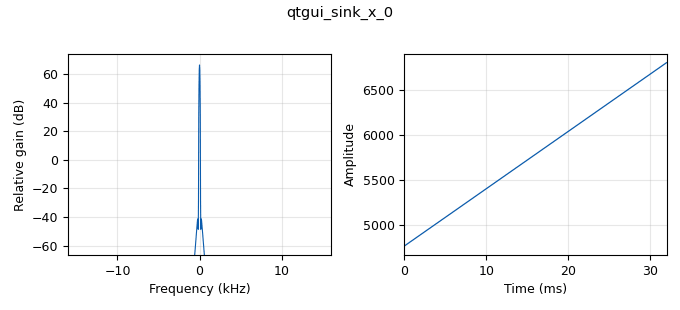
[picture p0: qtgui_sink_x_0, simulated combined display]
options:
  parameters:
    generate_options: qt_gui
    id: Acum
    output_language: python
  states: {}

blocks:
- name: samp_rate
  id: variable
  parameters:
    value: '32000'
  states: {}
- name: blocks_vector_source_x_0
  id: blocks_vector_source_x
  parameters:
    repeat: 'True'
    type: float
    vector: (2, 2, 2)
  states: {}
- name: epy_block_0
  id: epy_block
  parameters:
    _source_code: |-
      """
      Embedded Python Blocks:

      Each time this file is saved, GRC will instantiate the first class it finds
      to get ports and parameters of your block. The arguments to __init__  will
      be the parameters. All of them are required to have default values!
      """

      import numpy as np
      from gnuradio import gr


      class blk(gr.sync_block):  # other base classes are basic_block, decim_block, interp_block
          """Embedded Python Block example - a simple multiply const"""
          
          def __init__(self):
              gr.sync_block.__init__(
                  self,
                  name='e_Acum',
                  in_sig=[np.float32],
                  out_sig=[np.float32]
              )

          def work(self, input_items, output_items):

              x=input_items[0]
              y0=output_items[0]
              y0[:]=np.cumsum(x)
              return len(y0)
  states: {}
- name: qtgui_sink_x_0
  id: qtgui_sink_x
  parameters:
    bw: samp_rate
    fc: '0'
    fftsize: '1024'
    type: float
  states: {}

connections:
- [blocks_vector_source_x_0, '0', epy_block_0, '0']
- [epy_block_0, '0', qtgui_sink_x_0, '0']

metadata:
  file_format: 1
  grc_version: v3.10.11.0-89-ga17f69e7
